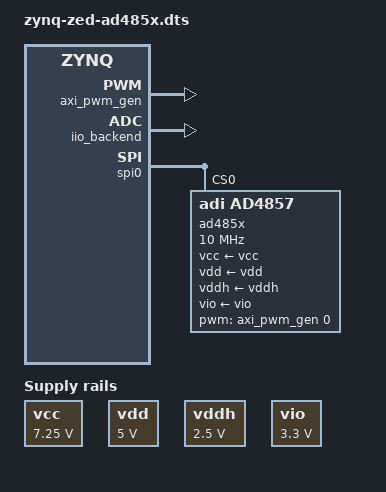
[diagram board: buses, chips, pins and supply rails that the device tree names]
// SPDX-License-Identifier: GPL-2.0
/dts-v1/;
#include "zynq-zed.dts"

#include <dt-bindings/interrupt-controller/irq.h>

/ {
	clocks {
		axi_clk: clock@0 {
			compatible = "fixed-clock";
			clock-frequency = <100000000>;
			clock-output-names = "axi-clk";
			#clock-cells = <0>;
		};
	};

	vcc: regulator-vcc {
		compatible = "regulator-fixed";
		regulator-name = "fixed-supply";
		regulator-min-microvolt = <7250000>;
		regulator-max-microvolt = <7250000>;
		regulator-always-on;
	};

	vdd: regulator-vdd {
		compatible = "regulator-fixed";
		regulator-name = "fixed-supply";
		regulator-min-microvolt = <5000000>;
		regulator-max-microvolt = <5000000>;
		regulator-always-on;
	};

	vddh: regulator-vddh {
		compatible = "regulator-fixed";
		regulator-name = "fixed-supply";
		regulator-min-microvolt = <2500000>;
		regulator-max-microvolt = <2500000>;
		regulator-always-on;
	};

	vio: regulator-vio {
		compatible = "regulator-fixed";
		regulator-name = "fixed-supply";
		regulator-min-microvolt = <3300000>;
		regulator-max-microvolt = <3300000>;
		regulator-always-on;
	};

	fpga-axi@0 {
		compatible = "simple-bus";
		#address-cells = <0x1>;
		#size-cells = <0x1>;
		ranges;

		rx_dma: dmac@43e00000 {
			compatible = "adi,axi-dmac-1.00.a";
			reg = <0x43E00000 0x1000>;
			#dma-cells = <1>;
			interrupt-parent = <&intc>;
			interrupts = <0 54 IRQ_TYPE_LEVEL_HIGH>;
			clocks = <&clkc 15>;

			adi,channels {
				#size-cells = <0>;
				#address-cells = <1>;

				dma_channel: dma-channel@0 {
					reg = <0>;
					adi,source-bus-width = <128>;
					adi,source-bus-type = <2>;
					adi,destination-bus-width = <64>;
					adi,destination-bus-type = <0>;
				};
			};
		};

		ref_clk: clk@0x44000000 {
			compatible = "adi,axi-clkgen-2.00.a";
			reg = <0x44000000 0x10000>;
			#clock-cells = <0>;
			clocks = <&clkc 15>, <&clkc 16>;
			clock-names = "s_axi_aclk", "clkin1";
			clock-output-names = "ref_clk";
		};

		axi_pwm_gen: pwm@0x43d00000 {
			compatible = "adi,axi-pwmgen";
			reg = <0x43d00000 0x1000>;
			label = "cnv";
			#pwm-cells = <2>;
			clocks = <&ref_clk>;
		};

		iio_backend: axi_adc@43c00000 {
			compatible = "adi,axi-adc-10.0.a";
			reg = <0x43c00000 0x10000>;
			dmas = <&rx_dma 0>;
			dma-names = "rx";
			clocks = <&axi_clk>;
			spibus-connected = <&ad485x>;
		};
	};
};

&spi0 {
	status = "okay";

	ad485x: adc@0{
		compatible = "adi,ad4857";
		reg = <0>;
		spi-max-frequency = <10000000>;
		pwms = <&axi_pwm_gen 0 0>;
		pwm-names = "cnv";
		vcc-supply = <&vcc>;
		vdd-supply = <&vdd>;
		vddh-supply = <&vddh>;
		vio-supply = <&vio>;
		io-backends = <&iio_backend>;
	};
};
